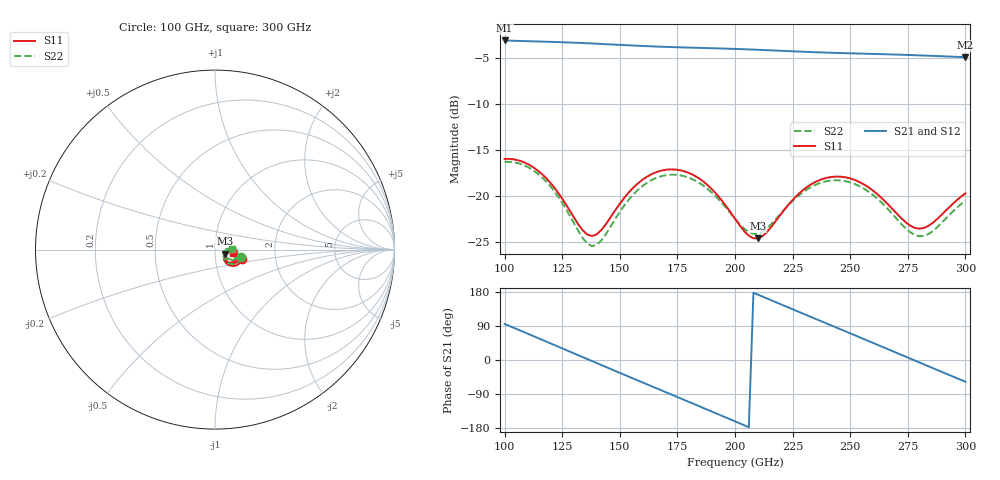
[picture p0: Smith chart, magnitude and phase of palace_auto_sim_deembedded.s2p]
! Created with skrf 1.11.0 (http://scikit-rf.org).
# GHz S DB R 50.0
!freq dBS11 angS11 dBS21 angS21 dBS12 angS12 dBS22 angS22
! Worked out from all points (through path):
!   101 points, 100 GHz to 300 GHz, reference 50 ohm
!   highest |S21| = -3.12 dB at 100 GHz (marker M1); lowest = -4.9 dB at 300 GHz (marker M2)
!   group delay of S21, straight-line fit = 7.12 ps
!   lowest |S11| = -24.6 dB at 210 GHz (marker M3), VSWR 1.12, Z = 55.7 - j2.57 ohm
!   |S11| at or under -10 dB: start of sweep to end of sweep
!   |S22| runs from -25.5 to -16.3 dB; largest |S21 - S12| = 1.2e-13
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100  -15.99 -20.2  -3.12 95.1  -3.12 95.1  -16.31 -16.5
108  -16.31 -32.8  -3.19 74.6  -3.19 74.6  -16.64 -29.0
116  -17.59 -43.8  -3.25 54.0  -3.25 54.0  -17.94 -40.0
126  -20.69 -50.0  -3.33 28.1  -3.33 28.1  -21.15 -46.9
134  -23.77 -38.2  -3.41 7.3  -3.41 7.3  -24.62 -35.2
140  -24.17 -17.4  -3.48 -8.2  -3.48 -8.2  -25.33 -11.7
150  -20.86 -1.1  -3.60 -34.0  -3.60 -34.0  -21.74 7.9
160  -18.22 -7.6  -3.72 -59.5  -3.72 -59.5  -18.90 2.3
168  -17.26 -18.0  -3.80 -79.9  -3.80 -79.9  -17.87 -7.6
182  -17.75 -37.9  -3.91 -115.7  -3.91 -115.7  -18.25 -26.3
192  -19.82 -48.0  -3.98 -141.3  -3.98 -141.3  -20.15 -35.1
200  -22.48 -47.1  -4.04 -161.9  -4.04 -161.9  -22.49 -33.4
210  -24.61 -23.1  -4.14 172.4  -4.14 172.4  -24.12 -12.5
222  -21.32 -3.7  -4.27 141.6  -4.27 141.6  -21.33 3.8
234  -18.61 -11.7  -4.39 111.0  -4.39 111.0  -18.91 -3.4
242  -17.94 -21.6  -4.46 90.7  -4.46 90.7  -18.32 -12.7
250  -18.11 -31.8  -4.52 70.4  -4.52 70.4  -18.54 -22.5
258  -19.08 -40.4  -4.57 50.0  -4.57 50.0  -19.55 -30.8
268  -21.34 -44.0  -4.64 24.4  -4.64 24.4  -21.88 -34.5
282  -23.49 -22.8  -4.76 -11.5  -4.76 -11.5  -24.35 -12.3
290  -21.98 -11.2  -4.84 -31.9  -4.84 -31.9  -22.85 0.7
300  -19.73 -11.9  -4.94 -57.4  -4.94 -57.4  -20.52 1.0
